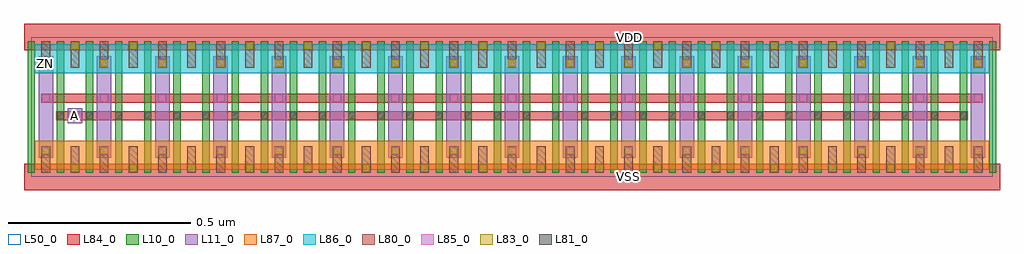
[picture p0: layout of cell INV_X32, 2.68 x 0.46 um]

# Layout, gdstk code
import gdstk
lib = gdstk.Library(unit=1e-6, precision=1e-09)
def R(c, l, rs):  # rectangles x0, y0, x1, y1
    for r in rs: c.add(gdstk.rectangle(r[:2], r[2:], *l))
def A(c, l, x, y, w, h, nx, ny, dx, dy):  # array of equal rectangles
    R(c, l, [(x+i*dx, y+j*dy, x+i*dx+w, y+j*dy+h) for i in range(nx) for j in range(ny)])
L10_0 = (10, 0)
L11_0 = (11, 0)
L50_0 = (50, 0)
L80_0 = (80, 0)
L81_0 = (81, 0)
L83_0 = (83, 0)
L84_0 = (84, 0)
L85_0 = (85, 0)
L86_0 = (86, 0)
L87_0 = (87, 0)

inv_x32 = lib.new_cell('INV_X32')
A(inv_x32, L10_0, -0.039, 0.107, 0.02, 0.36, 5, 1, 0.08, 0)
A(inv_x32, L10_0, 0.361, 0.107, 0.02, 0.36, 4, 1, 0.08, 0)
A(inv_x32, L10_0, 0.681, 0.107, 0.02, 0.36, 4, 1, 0.08, 0)
A(inv_x32, L10_0, 1.001, 0.107, 0.02, 0.36, 4, 1, 0.08, 0)
A(inv_x32, L10_0, 1.321, 0.107, 0.02, 0.36, 4, 1, 0.08, 0)
A(inv_x32, L10_0, 1.641, 0.107, 0.02, 0.36, 4, 1, 0.08, 0)
A(inv_x32, L10_0, 1.961, 0.107, 0.02, 0.36, 4, 1, 0.08, 0)
A(inv_x32, L10_0, 2.281, 0.107, 0.02, 0.36, 5, 1, 0.08, 0)
R(inv_x32, L10_0, [(0.281,0.107,0.301,0.467), (0.361,0.107,0.381,0.467), (0.601,0.107,0.621,0.467), (0.681,0.107,0.701,0.467), (0.921,0.107,0.941,0.467), (1.001,0.107,1.021,0.467), (1.241,0.107,1.261,0.467), (1.321,0.107,1.341,0.467), (1.561,0.107,1.581,0.467), (1.641,0.107,1.661,0.467), (1.881,0.107,1.901,0.467), (1.961,0.107,1.981,0.467), (2.201,0.107,2.221,0.467), (2.281,0.107,2.301,0.467)])
A(inv_x32, L11_0, -0.009, 0.147, 0.04, 0.28, 3, 1, 0.16, 0)
A(inv_x32, L11_0, 0.311, 0.147, 0.04, 0.28, 3, 1, 0.16, 0)
A(inv_x32, L11_0, 0.631, 0.147, 0.04, 0.28, 3, 1, 0.16, 0)
A(inv_x32, L11_0, 0.951, 0.147, 0.04, 0.28, 3, 1, 0.16, 0)
A(inv_x32, L11_0, 1.271, 0.147, 0.04, 0.28, 3, 1, 0.16, 0)
A(inv_x32, L11_0, 1.591, 0.147, 0.04, 0.28, 3, 1, 0.16, 0)
A(inv_x32, L11_0, 1.911, 0.147, 0.04, 0.28, 3, 1, 0.16, 0)
A(inv_x32, L11_0, 2.231, 0.147, 0.04, 0.28, 3, 1, 0.16, 0)
R(inv_x32, L11_0, [(0.071,0.243,0.111,0.283)])
R(inv_x32, L50_0, [(-0.029,0.095,1.331,0.479), (1.251,0.095,2.611,0.479)])
A(inv_x32, L80_0, -0.001, 0.107, 0.024, 0.072, 5, 2, 0.08, 0.288)
A(inv_x32, L80_0, 0.319, 0.107, 0.024, 0.072, 5, 2, 0.08, 0.288)
A(inv_x32, L80_0, 0.639, 0.107, 0.024, 0.072, 5, 2, 0.08, 0.288)
A(inv_x32, L80_0, 0.959, 0.107, 0.024, 0.072, 5, 2, 0.08, 0.288)
A(inv_x32, L80_0, 1.279, 0.107, 0.024, 0.072, 5, 2, 0.08, 0.288)
A(inv_x32, L80_0, 1.599, 0.107, 0.024, 0.072, 5, 2, 0.08, 0.288)
A(inv_x32, L80_0, 1.919, 0.107, 0.024, 0.072, 5, 2, 0.08, 0.288)
A(inv_x32, L80_0, 2.239, 0.107, 0.024, 0.072, 5, 2, 0.08, 0.288)
A(inv_x32, L81_0, 0.042, 0.254, 0.018, 0.018, 32, 1, 0.08, 0)
A(inv_x32, L83_0, 0.081, 0.109, 0.02, 0.02, 16, 2, 0.16, 0.336)
A(inv_x32, L83_0, 0.001, 0.157, 0.02, 0.02, 3, 2, 0.16, 0.24)
A(inv_x32, L83_0, 0.321, 0.157, 0.02, 0.02, 3, 2, 0.16, 0.24)
A(inv_x32, L83_0, 0.641, 0.157, 0.02, 0.02, 3, 2, 0.16, 0.24)
A(inv_x32, L83_0, 0.961, 0.157, 0.02, 0.02, 3, 2, 0.16, 0.24)
A(inv_x32, L83_0, 1.281, 0.157, 0.02, 0.02, 3, 2, 0.16, 0.24)
A(inv_x32, L83_0, 1.601, 0.157, 0.02, 0.02, 3, 2, 0.16, 0.24)
A(inv_x32, L83_0, 1.921, 0.157, 0.02, 0.02, 3, 2, 0.16, 0.24)
A(inv_x32, L83_0, 2.241, 0.157, 0.02, 0.02, 3, 2, 0.16, 0.24)
A(inv_x32, L84_0, -0.049, 0.059, 0.44, 0.072, 8, 2, 0.32, 0.384)
A(inv_x32, L84_0, -0.001, 0.155, 0.024, 0.024, 3, 2, 0.16, 0.24)
A(inv_x32, L84_0, 0.319, 0.155, 0.024, 0.024, 3, 2, 0.16, 0.24)
A(inv_x32, L84_0, 0.639, 0.155, 0.024, 0.024, 3, 2, 0.16, 0.24)
A(inv_x32, L84_0, 0.959, 0.155, 0.024, 0.024, 3, 2, 0.16, 0.24)
A(inv_x32, L84_0, 1.279, 0.155, 0.024, 0.024, 3, 2, 0.16, 0.24)
A(inv_x32, L84_0, 1.599, 0.155, 0.024, 0.024, 3, 2, 0.16, 0.24)
A(inv_x32, L84_0, 1.919, 0.155, 0.024, 0.024, 3, 2, 0.16, 0.24)
A(inv_x32, L84_0, 2.239, 0.155, 0.024, 0.024, 3, 2, 0.16, 0.24)
A(inv_x32, L84_0, 0.359, 0.251, 0.264, 0.024, 4, 1, 0.64, 0)
A(inv_x32, L84_0, -0.001, 0.299, 0.344, 0.024, 8, 1, 0.32, 0)
R(inv_x32, L84_0, [(0.039,0.251,0.381,0.275), (0.601,0.251,1.021,0.275), (1.197,0.251,1.661,0.275), (1.881,0.251,2.301,0.275)])
A(inv_x32, L85_0, 0, 0.156, 0.022, 0.022, 3, 2, 0.16, 0.144)
A(inv_x32, L85_0, 0.32, 0.156, 0.022, 0.022, 3, 2, 0.16, 0.144)
A(inv_x32, L85_0, 0.64, 0.156, 0.022, 0.022, 3, 2, 0.16, 0.144)
A(inv_x32, L85_0, 0.96, 0.156, 0.022, 0.022, 3, 2, 0.16, 0.144)
A(inv_x32, L85_0, 1.28, 0.156, 0.022, 0.022, 3, 2, 0.16, 0.144)
A(inv_x32, L85_0, 1.6, 0.156, 0.022, 0.022, 3, 2, 0.16, 0.144)
A(inv_x32, L85_0, 1.92, 0.156, 0.022, 0.022, 3, 2, 0.16, 0.144)
A(inv_x32, L85_0, 2.24, 0.156, 0.022, 0.022, 3, 2, 0.16, 0.144)
A(inv_x32, L85_0, 0, 0.396, 0.022, 0.022, 3, 1, 0.16, 0)
A(inv_x32, L85_0, 0.32, 0.396, 0.022, 0.022, 3, 1, 0.16, 0)
A(inv_x32, L85_0, 0.64, 0.396, 0.022, 0.022, 3, 1, 0.16, 0)
A(inv_x32, L85_0, 0.96, 0.396, 0.022, 0.022, 3, 1, 0.16, 0)
A(inv_x32, L85_0, 1.28, 0.396, 0.022, 0.022, 3, 1, 0.16, 0)
A(inv_x32, L85_0, 1.6, 0.396, 0.022, 0.022, 3, 1, 0.16, 0)
A(inv_x32, L85_0, 1.92, 0.396, 0.022, 0.022, 3, 1, 0.16, 0)
A(inv_x32, L85_0, 2.24, 0.396, 0.022, 0.022, 3, 1, 0.16, 0)
R(inv_x32, L85_0, [(0.08,0.252,0.102,0.274)])
A(inv_x32, L86_0, -0.019, 0.379, 0.38, 0.08, 8, 1, 0.32, 0)
A(inv_x32, L87_0, -0.019, 0.115, 0.38, 0.08, 8, 1, 0.32, 0)
inv_x32.add(gdstk.Label('VSS', (1.611,0.095), layer=88, texttype=0))
inv_x32.add(gdstk.Label('VDD', (1.613,0.479), layer=88, texttype=0))
inv_x32.add(gdstk.Label('ZN', (0.011,0.407), layer=31, texttype=0))
inv_x32.add(gdstk.Label('A', (0.091,0.263), layer=31, texttype=0))

lib.write_gds('INV_X32.gds')
